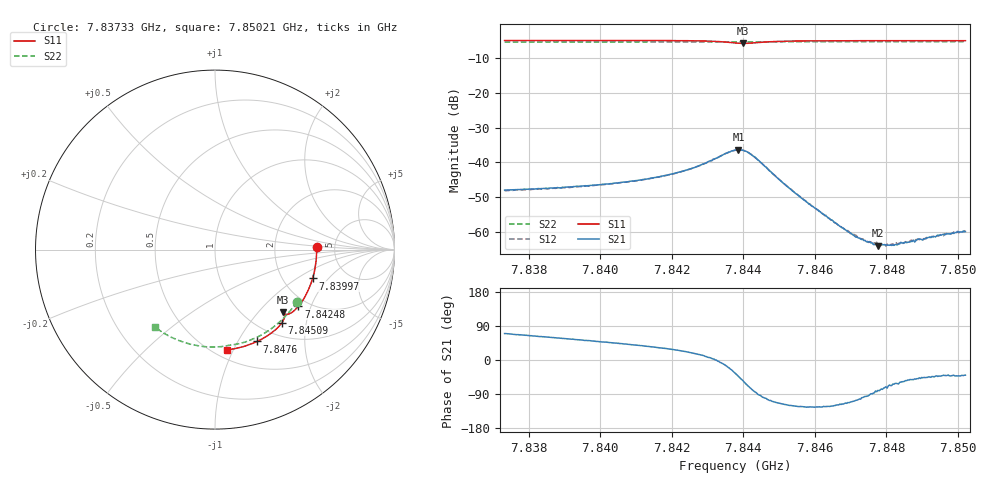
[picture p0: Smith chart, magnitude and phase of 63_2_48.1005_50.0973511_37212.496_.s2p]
#  HZ  S  RI  R  50.00
! Rohde & Schwarz Vector Network Analyzer
! Rohde-Schwarz,ZNB20-2Port,1311601062101988,3.16
! Created: UTC 12/23/2023, 3:40:59 AM
! freq[Hz]  re:S11  im:S11  re:S21  im:S21  re:S12  im:S12  re:S22  im:S22
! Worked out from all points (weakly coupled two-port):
!   401 points, 7.83733 GHz to 7.85021 GHz, reference 50 ohm
!   highest |S21| = -36.35 dB at 7.84387 GHz (marker M1); lowest = -64.0 dB at 7.84776 GHz (marker M2)
!   lowest |S11| = -5.8 dB at 7.84399 GHz (marker M3), VSWR 3.12, Z = 72 - j68.6 ohm
!   |S11| at or under -10 dB: nowhere
!   |S22| runs from -5.4 to -5.3 dB; largest |S21 - S12| = 0.00028
!   S11 on the Smith chart (normalised r, x): 7.83733 GHz: 3.61, +0.14; 7.83997 GHz: 2.90, -1.37; 7.84248 GHz: 1.77, -1.64; 7.84509 GHz: 1.25, -1.46; 7.8476 GHz: 0.81, -1.21; 7.85021 GHz: 0.58, -0.94
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7.837331e9  0.5664 0.0132  0.00138 0.00374  0.00143 0.00367  0.4552 -0.2901
7.839488e9  0.5521 -0.1297  0.00278 0.00362  0.00271 0.00356  0.3578 -0.4054
7.839971e9  0.5436 -0.161  0.00314 0.00355  0.0031 0.00353  0.3318 -0.4269
7.841645e9  0.4989 -0.2667  0.00522 0.00332  0.00517 0.0033  0.2323 -0.489
7.842482e9  0.4647 -0.3166  0.00745 0.00277  0.00739 0.00279  0.1778 -0.5113
7.843287e9  0.4156 -0.3568  0.0117 -0.000661  0.0117 -0.000422  0.1231 -0.5265
7.843769e9  0.381 -0.3576  0.0124 -0.00844  0.0123 -0.00838  0.0906 -0.5315
7.843866e9  0.3777 -0.354  0.0111 -0.0104  0.0111 -0.0102  0.0844 -0.5324
7.843995e9  0.3773 -0.35  0.00854 -0.0123  0.00845 -0.0122  0.0765 -0.5336
7.844156e9  0.3815 -0.3493  0.0046 -0.0129  0.00469 -0.013  0.0664 -0.5354
7.844317e9  0.3864 -0.3549  0.00136 -0.012  0.00143 -0.0118  0.056 -0.5375
7.845089e9  0.3734 -0.4067  -0.00226 -0.00465  -0.00227 -0.00469  0.00189 -0.5427
7.845926e9  0.3317 -0.4511  -0.00131 -0.00193  -0.00133 -0.00193  -0.0571 -0.5407
7.846603e9  0.2937 -0.4789  -0.000635 -0.00115  -0.000648 -0.00115  -0.1041 -0.5341
7.847085e9  0.2654 -0.4959  -0.000284 -0.000844  -0.000313 -0.000869  -0.1374 -0.5269
7.84744e9  0.2441 -0.5073  -7.47e-05 -0.000719  -6.06e-05 -0.000743  -0.1615 -0.5203
7.847601e9  0.2341 -0.5117  9.76e-06 -0.000695  -4.57e-06 -0.000675  -0.1723 -0.5168
7.847762e9  0.2244 -0.5163  0.000106 -0.000622  8.1e-05 -0.000653  -0.183 -0.5134
7.848083e9  0.2044 -0.5246  0.000259 -0.000586  0.000299 -0.000583  -0.204 -0.5054
7.848438e9  0.1821 -0.5327  0.000372 -0.000578  0.000362 -0.000576  -0.2269 -0.4958
7.8495e9  0.1136 -0.5513  0.000658 -0.000607  0.000659 -0.000623  -0.2927 -0.4606
7.850208e9  0.0671 -0.5584  0.000772 -0.000648  0.000792 -0.000661  -0.3336 -0.4325
